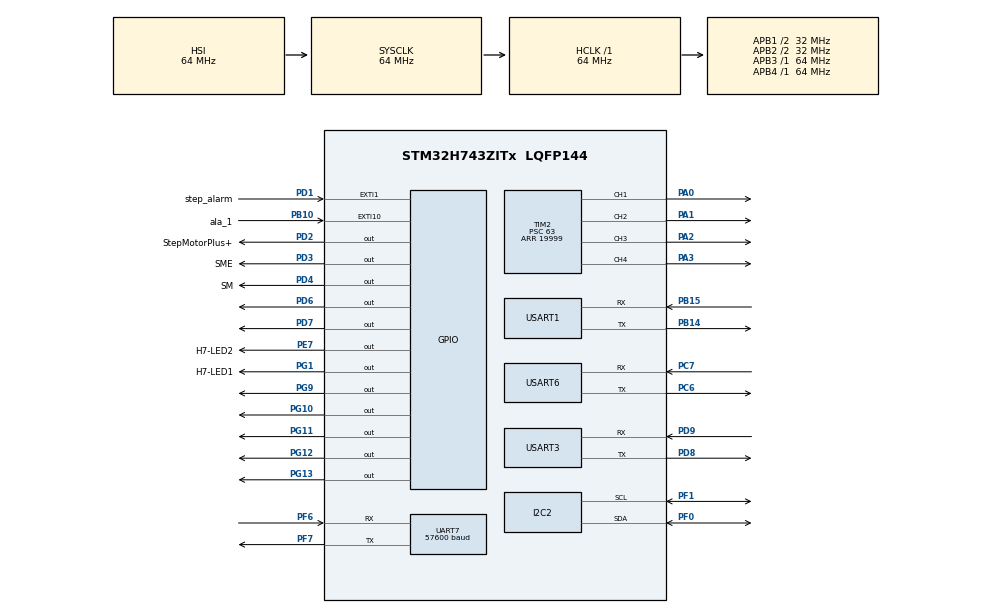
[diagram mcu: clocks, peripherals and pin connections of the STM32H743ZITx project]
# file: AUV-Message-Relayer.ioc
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Dma.Request0=USART1_RX
Dma.Request1=UART7_RX
Dma.UART7_RX.1.Direction=DMA_PERIPH_TO_MEMORY
Dma.UART7_RX.1.EventEnable=DISABLE
Dma.UART7_RX.1.FIFOMode=DMA_FIFOMODE_DISABLE
Dma.UART7_RX.1.Instance=DMA1_Stream1
Dma.UART7_RX.1.MemDataAlignment=DMA_MDATAALIGN_BYTE
Dma.UART7_RX.1.MemInc=DMA_MINC_ENABLE
Dma.UART7_RX.1.Mode=DMA_CIRCULAR
Dma.UART7_RX.1.PeriphDataAlignment=DMA_PDATAALIGN_BYTE
Dma.UART7_RX.1.PeriphInc=DMA_PINC_DISABLE
Dma.UART7_RX.1.Polarity=HAL_DMAMUX_REQ_GEN_RISING
Dma.UART7_RX.1.Priority=DMA_PRIORITY_LOW
Dma.UART7_RX.1.RequestNumber=1
Dma.UART7_RX.1.SignalID=NONE
Dma.UART7_RX.1.SyncEnable=DISABLE
Dma.UART7_RX.1.SyncPolarity=HAL_DMAMUX_SYNC_NO_EVENT
Dma.UART7_RX.1.SyncRequestNumber=1
Dma.UART7_RX.1.SyncSignalID=NONE
Dma.USART1_RX.0.Direction=DMA_PERIPH_TO_MEMORY
Dma.USART1_RX.0.EventEnable=DISABLE
Dma.USART1_RX.0.FIFOMode=DMA_FIFOMODE_DISABLE
Dma.USART1_RX.0.Instance=DMA1_Stream2
Dma.USART1_RX.0.MemDataAlignment=DMA_MDATAALIGN_BYTE
Dma.USART1_RX.0.MemInc=DMA_MINC_ENABLE
Dma.USART1_RX.0.Mode=DMA_CIRCULAR
Dma.USART1_RX.0.PeriphDataAlignment=DMA_PDATAALIGN_BYTE
Dma.USART1_RX.0.PeriphInc=DMA_PINC_DISABLE
Dma.USART1_RX.0.Polarity=HAL_DMAMUX_REQ_GEN_RISING
Dma.USART1_RX.0.Priority=DMA_PRIORITY_LOW
Dma.USART1_RX.0.RequestNumber=1
Dma.USART1_RX.0.SignalID=NONE
Dma.USART1_RX.0.SyncEnable=DISABLE
Dma.USART1_RX.0.SyncPolarity=HAL_DMAMUX_SYNC_NO_EVENT
Dma.USART1_RX.0.SyncRequestNumber=1
Dma.USART1_RX.0.SyncSignalID=NONE
FREERTOS.Tasks01=ListInfo,0,128,StartListInfoTask,Default,NULL,Dynamic,NULL,NULL
FREERTOS.configTOTAL_HEAP_SIZE=102400
FREERTOS.configUSE_STATS_FORMATTING_FUNCTIONS=1
FREERTOS.configUSE_TRACE_FACILITY=1
I2C2.Timing=0x00707CBB
Mcu.Family=STM32H7
Mcu.Name=STM32H743ZITx
Mcu.Package=LQFP144
NVIC.DMA1_Stream1_IRQn=true\:5\:0\:false\:false\:true\:true\:false\:true
NVIC.DMA1_Stream2_IRQn=true\:5\:0\:false\:false\:true\:true\:false\:true
NVIC.EXTI15_10_IRQn=true\:5\:0\:false\:false\:true\:true\:true\:true
NVIC.EXTI1_IRQn=true\:5\:0\:true\:false\:true\:true\:true\:true
NVIC.I2C2_EV_IRQn=true\:5\:0\:false\:false\:true\:true\:true\:true
NVIC.PriorityGroup=NVIC_PRIORITYGROUP_4
NVIC.TIM1_UP_IRQn=true\:15\:0\:false\:false\:true\:false\:false\:true
NVIC.TIM2_IRQn=true\:5\:0\:false\:false\:true\:true\:true\:true
NVIC.TIM3_IRQn=true\:6\:0\:true\:false\:true\:true\:true\:true
NVIC.TimeBase=TIM1_UP_IRQn
NVIC.TimeBaseIP=TIM1
PA0.Signal=S_TIM2_CH1
PA1.Signal=S_TIM2_CH2
PA13\ (JTMS/SWDIO).Mode=Serial_Wire
PA13\ (JTMS/SWDIO).Signal=DEBUG_JTMS-SWDIO
PA14\ (JTCK/SWCLK).Mode=Serial_Wire
PA14\ (JTCK/SWCLK).Signal=DEBUG_JTCK-SWCLK
PA2.Signal=S_TIM2_CH3
PA3.Signal=S_TIM2_CH4
PB10.GPIO_Label=ala_1
PB10.GPIO_ModeDefaultEXTI=GPIO_MODE_IT_RISING_FALLING
PB10.GPIO_PuPd=GPIO_PULLUP
PB10.Signal=GPXTI10
PB14.Mode=Asynchronous
PB14.Signal=USART1_TX
PB15.Mode=Asynchronous
PB15.Signal=USART1_RX
PB8.GPIO_PuPd=GPIO_PULLUP
PB8.GPIO_Speed=GPIO_SPEED_FREQ_HIGH
PB8.Signal=I2C1_SCL
PC6.Mode=Asynchronous
PC6.Signal=USART6_TX
PC7.Mode=Asynchronous
PC7.Signal=USART6_RX
PD0.Signal=UART4_RX
PD1.GPIO_Label=step_alarm
PD1.GPIO_ModeDefaultEXTI=GPIO_MODE_IT_FALLING
PD1.GPIO_PuPd=GPIO_PULLUP
PD1.Signal=GPXTI1
PD2.GPIO_Label=StepMotorPlus+
PD2.GPIO_Speed=GPIO_SPEED_FREQ_VERY_HIGH
PD2.Signal=GPIO_Output
PD3.GPIO_Label=SME
PD3.Signal=GPIO_Output
PD4.GPIO_Label=SM
PD4.Signal=GPIO_Output
PD5.Signal=USART2_TX
PD6.PinState=GPIO_PIN_SET
PD6.Signal=GPIO_Output
PD7.PinState=GPIO_PIN_SET
PD7.Signal=GPIO_Output
PD8.Mode=Asynchronous
PD8.Signal=USART3_TX
PD9.Mode=Asynchronous
PD9.Signal=USART3_RX
PE7.GPIO_Label=H7-LED2
PE7.Signal=GPIO_Output
PF0.GPIO_Pu=GPIO_PULLUP
PF0.GPIO_PuPd=GPIO_PULLUP
PF0.GPIO_Speed=GPIO_SPEED_FREQ_HIGH
PF0.Mode=I2C
PF0.Signal=I2C2_SDA
PF1.GPIO_Pu=GPIO_PULLUP
PF1.GPIO_PuPd=GPIO_PULLUP
PF1.GPIO_Speed=GPIO_SPEED_FREQ_HIGH
PF1.Mode=I2C
PF1.Signal=I2C2_SCL
PF6.Mode=Asynchronous
PF6.Signal=UART7_RX
PF7.Mode=Asynchronous
PF7.Signal=UART7_TX
PG1.GPIO_Label=H7-LED1
PG1.Signal=GPIO_Output
PG10.PinState=GPIO_PIN_SET
PG10.Signal=GPIO_Output
PG11.PinState=GPIO_PIN_SET
PG11.Signal=GPIO_Output
PG12.PinState=GPIO_PIN_SET
PG12.Signal=GPIO_Output
PG13.PinState=GPIO_PIN_SET
PG13.Signal=GPIO_Output
PG9.PinState=GPIO_PIN_SET
PG9.Signal=GPIO_Output
ProjectManager.HeapSize=0x200
ProjectManager.StackSize=0x400
ProjectManager.TargetToolchain=STM32CubeIDE
RCC.ADCFreq_Value=129000000
RCC.APB1Freq_Value=32000000
RCC.APB2Freq_Value=32000000
RCC.APB3Freq_Value=64000000
RCC.APB4Freq_Value=64000000
RCC.CortexFreq_Value=64000000
RCC.D2PPRE1=RCC_APB1_DIV2
RCC.D2PPRE2=RCC_APB2_DIV2
RCC.HCLKFreq_Value=64000000
RCC.SYSCLKFreq_VALUE=64000000
RCC.USBFreq_Value=129000000
SH.S_TIM2_CH1.0=TIM2_CH1,PWM Generation1 CH1
SH.S_TIM2_CH2.0=TIM2_CH2,PWM Generation2 CH2
SH.S_TIM2_CH3.0=TIM2_CH3,PWM Generation3 CH3
SH.S_TIM2_CH4.0=TIM2_CH4,PWM Generation4 CH4
TIM2.AutoReloadPreload=TIM_AUTORELOAD_PRELOAD_ENABLE
TIM2.Channel-PWM\ Generation1\ CH1=TIM_CHANNEL_1
TIM2.Channel-PWM\ Generation2\ CH2=TIM_CHANNEL_2
TIM2.Channel-PWM\ Generation3\ CH3=TIM_CHANNEL_3
TIM2.Channel-PWM\ Generation4\ CH4=TIM_CHANNEL_4
TIM2.OC1Preload_PWM=ENABLE
TIM2.OCFastMode_PWM-PWM\ Generation1\ CH1=TIM_OCFAST_DISABLE
TIM2.OCPolarity_1=TIM_OCPOLARITY_HIGH
TIM2.OCPolarity_2=TIM_OCPOLARITY_LOW
TIM2.Period=19999
TIM2.Prescaler=63
TIM2.Pulse-PWM\ Generation1\ CH1=500
TIM2.Pulse-PWM\ Generation2\ CH2=1000
TIM2.Pulse-PWM\ Generation3\ CH3=1500
TIM2.Pulse-PWM\ Generation4\ CH4=2000
TIM3.AutoReloadPreload=TIM_AUTORELOAD_PRELOAD_ENABLE
TIM3.Period=249
TIM3.Prescaler=7
UART7.BaudRate=57600
USART1.VirtualMode-Asynchronous=VM_ASYNC
USART3.VirtualMode-Asynchronous=VM_ASYNC
USART6.VirtualMode-Asynchronous=VM_ASYNC
VP_FREERTOS_VS_CMSIS_V1.Mode=CMSIS_V1
VP_SYS_VS_tim1.Mode=TIM1
VP_TIM2_VS_ClockSourceINT.Mode=Internal
VP_TIM3_VS_ClockSourceINT.Mode=Internal
board=custom

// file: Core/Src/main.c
/* USER CODE BEGIN Header */
/**
  ******************************************************************************
  * @file           : main.c
  * @brief          : Main program body
  ******************************************************************************
  * @attention
  *
  * <h2><center>&copy; Copyright (c) 2021 STMicroelectronics.
  * All rights reserved.</center></h2>
  *
  * This software component is licensed by ST under BSD 3-Clause license,
  * the "License"; You may not use this file except in compliance with the
  * License. You may obtain a copy of the License at:
  *                        opensource.org/licenses/BSD-3-Clause
  *
  ******************************************************************************
  */
/* USER CODE END Header */
#include "main.h"
#include "cmsis_os.h"
#include "dma.h"
#include "i2c.h"
#include "tim.h"
#include "usart.h"
#include "gpio.h"

/* USER CODE BEGIN Includes */
#include "P30.h"
#include "STM32P30Device.h"
#include "ROSApi.h"
#include "std_msgs/UInt32.h"
#include "std_msgs/Float32.h"
#include "std_msgs/Int32.h"
#include "STM32BMP180Device.h"
#include "BMP180Api.h"
extern "C"{
#include "stdio.h"
#include "B30.h"
}
/* USER CODE END Includes */

/* USER CODE BEGIN PM */
int	posOfStepMotor = 0; // last time position of step motor
int	exptPosOfStepMotor = -99999999;
int init_para = 0; //1 (begin)turn on service; 2 initialing
int err_pos = 0; //pub to 3399
//int start_Pose_SM = 0; //calculate total step number ~89280
int er_co_2 = 0; //0 not initialized; 1 initialized not err; 2 erred
void PRCallback(const std_msgs::Float32& msg)
{
//	printf("get /D_pwm data = %f\r\n", msg.data);
	//-----
	double a;
	if(msg.data>270)
	{
		a = 270;
	}
	else if (msg.data<0)
	{
		a = 0;
	}
	else
	{
		a = msg.data;
	}
	int b;
	b = (a/270)*2000+500;
//	printf("%f\n __D_pwm__\r\n",a);
	//-----b = msg.data
	__HAL_TIM_SET_COMPARE(&htim2, TIM_CHANNEL_1, b);

}

void PropCallback(const std_msgs::Float32& msg)
{
	//-----
	double a;
	if(msg.data>4)
	{
		a = 4;
	}
	else if (msg.data<-2.6)
	{
		a = -2.6;
	}
	else
	{
		a = msg.data;
	}
	int b;
	b = (a/6.6)*1000+1000;
	printf("get P_pwm=%f output=%f \r\n",msg.data, a);
	//-----b = msg.data
	__HAL_TIM_SET_COMPARE(&htim2, TIM_CHANNEL_2, b);
}

void WECallback(const std_msgs::Float32& msg)
{

}

void StepMotorCallback(const std_msgs::Int32 &msg)
{
	int a;
	if(msg.data>44000)
	{
		a = 44000;
	}
	else if (msg.data<-44000)
	{
		a = -44000;
	}
	else
	{
		a = msg.data;
	}
	printf("get ExpSM=%d output=%d \r\n",msg.data, a);
	exptPosOfStepMotor = a;
	//-----b = msg.data
}
/* USER CODE END PM */

/* USER CODE BEGIN PV */
ros::NodeHandle nh;
std_msgs::UInt32 var;
std_msgs::UInt32 var1;
std_msgs::UInt32 var2;
std_msgs::UInt32 var3;
std_msgs::UInt32 var4;
std_msgs::UInt32 var5;
std_msgs::UInt32 var6;
ros::Publisher b30Publisher("B30",&var);
ros::Publisher p30Publisher("P30",&var1);
ros::Publisher t30Publisher("T30",&var2);
ros::Publisher prePublisher("pre",&var3);
ros::Publisher temPublisher("tem",&var4);
ros::Publisher smpPublisher("smp",&var5);
ros::Publisher esmpPublisher("esmp",&var6);
ros::Subscriber<std_msgs::Float32>	D_pwmSubscriber("/D_pwm",PRCallback);
ros::Subscriber<std_msgs::Float32> 	P_pwmSubscriber("/P_pwm",PropCallback);
ros::Subscriber<std_msgs::Float32> 	W_pwmSubscriber("/W_pwm",WECallback);
ros::Subscriber<std_msgs::Int32> 	StepMotorSubscriber("/StepMotor",StepMotorCallback);
TaskHandle_t xHandle  = NULL;
TaskHandle_t xHandle1 = NULL;
TaskHandle_t xHandle2 = NULL;
TaskHandle_t xHandle3 = NULL;
TaskHandle_t xHandle4 = NULL;
TaskHandle_t xHandle5 = NULL;
double              b30_temperture;
int32_t             b30_pressure;
STM32P30Device      stm32P30Device;
STM32BMP180Device   stm32BMP180Device;
BMP180Api			bmp180Api{&stm32BMP180Device,0xee};
BMP180Result        bmp180Result;

P30 p30( &stm32P30Device );
extern "C"{
/* USER CODE END PV */

void SystemClock_Config(void);
void MX_FREERTOS_Init(void);
/* USER CODE BEGIN PFP */
}
void StartROSSerialTask(void const * argument);
void StartB30Task(void const * argument);
void StartP30Task(void const * argument);
void StartT30Task(void const * argument);
void StartBMP180Task(void const * argument);
void StartDJTask(void const * argument);
void StartStepMotorTask(void const * argument);
/* USER CODE END PFP */

int main(void)
{

  /* MCU Configuration--------------------------------------------------------*/

  /* Reset of all peripherals, Initializes the Flash interface and the Systick. */
  HAL_Init();

  /* Configure the system clock */
  SystemClock_Config();

  /* Initialize all configured peripherals */
  MX_GPIO_Init();
  MX_DMA_Init();
  MX_USART3_UART_Init();
  MX_I2C2_Init();
  MX_USART6_UART_Init();
  MX_USART1_UART_Init();
  MX_UART7_Init();
  MX_TIM2_Init();
  MX_TIM3_Init();
  /* USER CODE BEGIN 2 */
  nh.initNode();
  nh.advertise(b30Publisher);
  nh.advertise(p30Publisher);
  nh.advertise(t30Publisher);
  nh.advertise(prePublisher);
  nh.advertise(temPublisher);
  nh.advertise(smpPublisher);
  nh.advertise(esmpPublisher);
  nh.subscribe(D_pwmSubscriber);
  nh.subscribe(P_pwmSubscriber);
  nh.subscribe(W_pwmSubscriber);
  nh.subscribe(StepMotorSubscriber);
#ifdef PRINT_DEBUG_INFORMATION
  printf("SYS RESTART!\n");
#endif
  xTaskCreate(	(TaskFunction_t)StartROSSerialTask,
				"ROSSerial",
				1000,
				NULL,
				5,
				&xHandle);
//  xTaskCreate(	(TaskFunction_t)StartB30Task,
//  				"B30",
//  				300,
//  				NULL,
//  				3,
//  				&xHandle1);
//  xTaskCreate(	(TaskFunction_t)StartP30Task,
//				"P30",
//				200,
//				NULL,
//				3,
//				&xHandle2);
//  xTaskCreate(	(TaskFunction_t)StartT30Task,
// 				"T30",
// 				200,
// 				NULL,
// 				4,
// 				&xHandle3);
//  xTaskCreate(	(TaskFunction_t)StartBMP180Task,
//   				"BMP180",
//   				200,
//   				NULL,
//   				3,
//   				&xHandle4);
  xTaskCreate(	(TaskFunction_t)StartStepMotorTask,
				"StepMotor",
				200,
				NULL,
				3,
				&xHandle5);
  HAL_TIM_Base_Start_IT(&htim2);
//  HAL_TIM_Base_Start_IT(&htim3);
  HAL_TIM_PWM_Start_IT(&htim2,TIM_CHANNEL_1);
  HAL_TIM_PWM_Start_IT(&htim2,TIM_CHANNEL_2);
//  HAL_TIM_PWM_Start_IT(&htim2,TIM_CHANNEL_3);
  HAL_TIM_PWM_Start_IT(&htim2,TIM_CHANNEL_4);
  HAL_TIM_Base_Start_IT(&htim3);
  HAL_GPIO_WritePin(GPIOD, SME_Pin, GPIO_PIN_RESET);
//  int i;
//  for(i=0;i<=3999;i++)
//  {
//	  __HAL_TIM_SET_COMPARE(&htim2, TIM_CHANNEL_1, i);
//  }

//  HAL_TIM_PWM_Start_IT(&htim2,TIM_CHANNEL_2);
  /* USER CODE END 2 */

  /* Call init function for freertos objects (in freertos.c) */
  MX_FREERTOS_Init();
  /* Start scheduler */
  osKernelStart();

  /* We should never get here as control is now taken by the scheduler */
  /* Infinite loop */
  while (1)
  {

  }
}

void SystemClock_Config(void)
{
  RCC_OscInitTypeDef RCC_OscInitStruct = {0};
  RCC_ClkInitTypeDef RCC_ClkInitStruct = {0};

  /** Supply configuration update enable
  */
  HAL_PWREx_ConfigSupply(PWR_LDO_SUPPLY);
  /** Configure the main internal regulator output voltage
  */
  __HAL_PWR_VOLTAGESCALING_CONFIG(PWR_REGULATOR_VOLTAGE_SCALE3);

  while(!__HAL_PWR_GET_FLAG(PWR_FLAG_VOSRDY)) {}
  /** Initializes the RCC Oscillators according to the specified parameters
  * in the RCC_OscInitTypeDef structure.
  */
  RCC_OscInitStruct.OscillatorType = RCC_OSCILLATORTYPE_HSI;
  RCC_OscInitStruct.HSIState = RCC_HSI_DIV1;
  RCC_OscInitStruct.HSICalibrationValue = RCC_HSICALIBRATION_DEFAULT;
  RCC_OscInitStruct.PLL.PLLState = RCC_PLL_NONE;
  if (HAL_RCC_OscConfig(&RCC_OscInitStruct) != HAL_OK)
  {
    Error_Handler();
  }
  /** Initializes the CPU, AHB and APB buses clocks
  */
  RCC_ClkInitStruct.ClockType = RCC_CLOCKTYPE_HCLK|RCC_CLOCKTYPE_SYSCLK
                              |RCC_CLOCKTYPE_PCLK1|RCC_CLOCKTYPE_PCLK2
                              |RCC_CLOCKTYPE_D3PCLK1|RCC_CLOCKTYPE_D1PCLK1;
  RCC_ClkInitStruct.SYSCLKSource = RCC_SYSCLKSOURCE_HSI;
  RCC_ClkInitStruct.SYSCLKDivider = RCC_SYSCLK_DIV1;
  RCC_ClkInitStruct.AHBCLKDivider = RCC_HCLK_DIV1;
  RCC_ClkInitStruct.APB3CLKDivider = RCC_APB3_DIV1;
  RCC_ClkInitStruct.APB1CLKDivider = RCC_APB1_DIV2;
  RCC_ClkInitStruct.APB2CLKDivider = RCC_APB2_DIV2;
  RCC_ClkInitStruct.APB4CLKDivider = RCC_APB4_DIV1;

  if (HAL_RCC_ClockConfig(&RCC_ClkInitStruct, FLASH_LATENCY_1) != HAL_OK)
  {
    Error_Handler();
  }
}

/* USER CODE BEGIN 4 */

void StartROSSerialTask(void const * argument)
{
	for(;;)
	{
		nh.spinOnce();
		vTaskDelay(10);
	}
}

void StartB30Task(void const * argument)
{
	uint8_t ret;
	for(;;)
	{
#ifdef PRINT_DEBUG_INFORMATION
		printf("B30 RESET!!!!\n");
#endif
		while((ret = B30_init()))
		{
#ifdef PRINT_DEBUG_INFORMATION
			printf("hi2c1.state: %d\n", hi2c2.State);
			printf("B30_init ret: %d\n", ret);
#endif
			MX_I2C2_Init();
			vTaskDelay(1000);
		}
		while(!B30_GetData(&b30_pressure, &b30_temperture))
		{
			var.data = b30_pressure;
			printf("b30 %d\n",b30_pressure);
			vTaskSuspendAll();
			b30Publisher.publish(&var);
			if(!xTaskResumeAll())
				taskYIELD();

			vTaskDelay(20);
		}
	}
}
void StartP30Task(void const * argument)
{
	ping_message *msg;
	for(;;)
	{
		while(p30.initialize(50))
		{

		}
		while(1)
		{
			msg=p30.read();
			if(msg)
			{
				p30.handleMessage(msg);
				var1.data = p30._distance;
				printf("p30_distance:%d\n",p30._distance);
				vTaskSuspendAll();
				p30Publisher.publish(&var1);
				if(!xTaskResumeAll())
					taskYIELD();
			}
			else
				vTaskDelay(50);
		}
	}
}
void StartT30Task(void const * argument)
{
	int flag = 0;
	int time = 0;
	int dtime = 0;
	for(;;)
	{
		dtime += HAL_GetTick() - time;
		time   = HAL_GetTick();
		if (dtime >= 1000)
		{
			vTaskSuspendAll();
			var2.data = flag;
			t30Publisher.publish(&var2);
			if(!xTaskResumeAll())
				taskYIELD();
#ifdef PRINT_DEBUG_INFORMATION
			printf("--------------------percent: %d\n", flag);
#endif
			flag = 0;
			dtime = 0;
		}
		else
		{
			flag ++;
		}
		vTaskDelay(10);
	}
}

void StartBMP180Task(void const * argument)
{

	for(;;)
	{
		while(bmp180Api.init())
		{
			vTaskDelay(1000);
		}
		do
		{
			bmp180Result = bmp180Api.GetTemAndPre();
			vTaskSuspendAll();
			var3.data = bmp180Result.pressure;
			var4.data = bmp180Result.temperature;
			prePublisher.publish(&var3);
			temPublisher.publish(&var4);
			if(!xTaskResumeAll())
				taskYIELD();
			vTaskDelay(500);
		}while(1);
	}
}
void StartStepMotorTask(void const * argument)
{
	for(;;)
	{
//		save_errpose = HAL_GPIO_ReadPin(GPIOD, SME_Pin);
		printf("pose:%d\n",posOfStepMotor);
//		printf("Pose:%d\n",start_Pose_SM);
		printf("er_co_2:%d\n",er_co_2);
		printf("exp:%d\r\n",exptPosOfStepMotor);
		var5.data = posOfStepMotor;
		vTaskSuspendAll();
		smpPublisher.publish(&var5);
		if(er_co_2>1){
			var6.data = err_pos;
			esmpPublisher.publish(&var6);
			printf("err_p:%d\r\n",err_pos);
			er_co_2 = 1;
		}
		if(!xTaskResumeAll())
				taskYIELD();
		vTaskDelay(50);
	}
}

void HAL_GPIO_EXTI_Callback(uint16_t GPIO_Pin)
{
	if(GPIO_Pin == ala_1_Pin)
	{
		if(HAL_GPIO_ReadPin(GPIOB, ala_1_Pin) == 0){
//		HAL_Delay(50);
//		HAL_GPIO_TogglePin(GPIOD, SME_Pin);
//		save_errpose = 100;
//		for(int i=0;i<=1000;i++){
//			for(int i=0;i<=10000;i++);
			if(er_co_2 > 0){
				init_para = 0;
				err_pos = posOfStepMotor;
				if(posOfStepMotor>0){
					posOfStepMotor = 44600;
				}
				else{
					posOfStepMotor = -44600;
				}
				er_co_2 = 2;
			}
//		}

//			exptPosOfStepMotor = - exptPosOfStepMotor;
//		start_Pose_SM = posOfStepMotor;//record err step motor position
//		var6.data = start_Pose_SM;
//		esmpPublisher.publish(&var6);

//		pose_SM_ptr = &start_Pose_SM;
		init_para ++;
		if(init_para > 1){
			posOfStepMotor = -44600;
			er_co_2 = 1;
			exptPosOfStepMotor = 0; //test---------------------------------------
//			if(save_errtimes > 2){
//				err_pos = posOfStepMotor;
//				if(posOfStepMotor>0){
//					posOfStepMotor = 44500;
//				}
//				else{
//					posOfStepMotor = -44500;
//				}
//			}
		}//initialize the position of step motor
//		HAL_GPIO_TogglePin(GPIOD, SM_Pin);
//		HAL_GPIO_WritePin(GPIOD, SME_Pin, (GPIO_PinState)1);
//		if(HAL_GPIO_ReadPin(GPIOD, GPIO_PIN_1) == 0){
//		while(1){

			printf("pose_end! \r\n\r\n\r\n\r\n\r\n");
//
////			HAL_Delay(50);
////			var5.data = posOfStepMotor;
////			if(posOfStepMotor > 0 & posOfStepMotor !=100 )
////			{
////				printf("publish++");
////				smpPublisher.publish(&var5);
////				posOfStepMotor = 101;
////			}
////			else if(posOfStepMotor < 0 & posOfStepMotor !=-100 )
////			{
////				smpPublisher.publish(&var5);
////				posOfStepMotor = -101;
////			}
////			else
////			{
////			}
////			HAL_Delay(500);
//			}

//		}
		}
	}
}
/* USER CODE END 4 */

void HAL_TIM_PeriodElapsedCallback(TIM_HandleTypeDef *htim)
{
  /* USER CODE BEGIN Callback 0 */
  static int8_t StepMotorOutputStatus = 0;
  /* USER CODE END Callback 0 */
  if (htim->Instance == TIM1) {
    HAL_IncTick();
  }
  /* USER CODE BEGIN Callback 1 */
  if (htim->Instance == TIM3)
  {
//	  if(save_errtimes <= 50){
		  if(posOfStepMotor != exptPosOfStepMotor)
		  {
	//		  exptPosOfStepMotor = 100;
			  if (StepMotorOutputStatus)
			  {
				  HAL_GPIO_WritePin(StepMotorPlus__GPIO_Port,StepMotorPlus__Pin,(GPIO_PinState)0);
				  StepMotorOutputStatus = 0;
				  if(exptPosOfStepMotor > posOfStepMotor)
				  {
					  posOfStepMotor++;
				  }
	//			  else if(exptPosOfStepMotor = posOfStepMotor)
	//			  {
	//				  return;
	//			  }
				  else
				  {
					  posOfStepMotor--;
				  }
//				  exptPosOfStepMotor ++;
			  }
			  else
			  {
				  if(exptPosOfStepMotor > posOfStepMotor)
				  {

					  HAL_GPIO_WritePin(SM_GPIO_Port,SM_Pin,(GPIO_PinState)1);
				  }
	//			  else if(exptPosOfStepMotor = posOfStepMotor)
	//			  {
	//				  return;
	//			  }
				  else
				  {
					  HAL_GPIO_WritePin(SM_GPIO_Port,SM_Pin,(GPIO_PinState)0);
				  }
				  HAL_GPIO_WritePin(StepMotorPlus__GPIO_Port,StepMotorPlus__Pin,(GPIO_PinState)1);
				  StepMotorOutputStatus = 1;
			  }
		  }
//	  }
  }
  /* USER CODE END Callback 1 */
}

void Error_Handler(void)
{
  /* USER CODE BEGIN Error_Handler_Debug */
  /* User can add his own implementation to report the HAL error return state */
  __disable_irq();
  while (1)
  {
	  HAL_UART_Transmit(&huart3, (uint8_t *)"Error_Handler\n", 14, 100);
  }
  /* USER CODE END Error_Handler_Debug */
}

/************************ (C) COPYRIGHT STMicroelectronics *****END OF FILE****/
